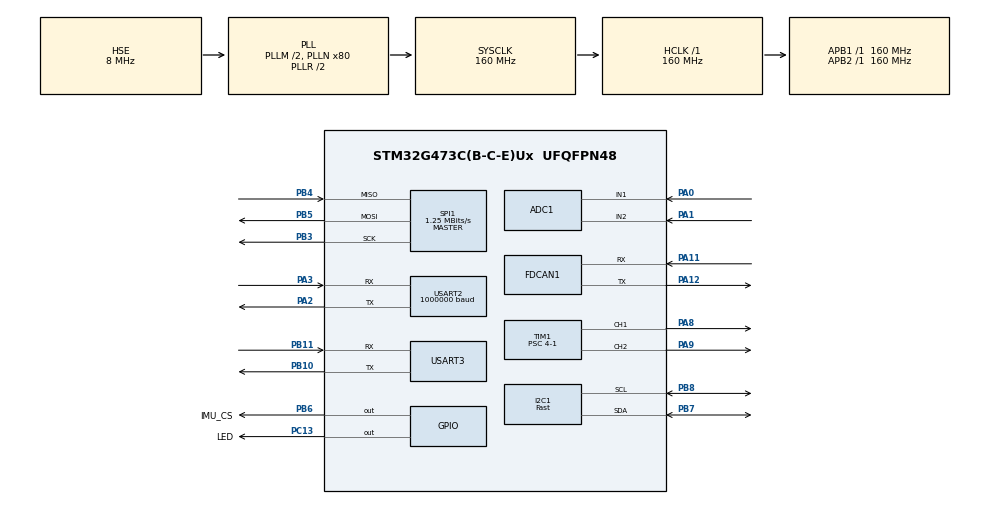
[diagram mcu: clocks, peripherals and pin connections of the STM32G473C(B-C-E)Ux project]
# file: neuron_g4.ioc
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ADC1.Channel-0\#ChannelRegularConversion=ADC_CHANNEL_1
ADC1.NbrOfConversionFlag=1
ADC1.OffsetNumber-0\#ChannelRegularConversion=ADC_OFFSET_NONE
ADC1.Rank-0\#ChannelRegularConversion=1
ADC1.SamplingTime-0\#ChannelRegularConversion=ADC_SAMPLETIME_2CYCLES_5
ADC1.master=1
Dma.Request0=USART2_RX
Dma.USART2_RX.0.Direction=DMA_PERIPH_TO_MEMORY
Dma.USART2_RX.0.EventEnable=DISABLE
Dma.USART2_RX.0.Instance=DMA1_Channel1
Dma.USART2_RX.0.MemDataAlignment=DMA_MDATAALIGN_BYTE
Dma.USART2_RX.0.MemInc=DMA_MINC_ENABLE
Dma.USART2_RX.0.Mode=DMA_CIRCULAR
Dma.USART2_RX.0.PeriphDataAlignment=DMA_PDATAALIGN_BYTE
Dma.USART2_RX.0.PeriphInc=DMA_PINC_DISABLE
Dma.USART2_RX.0.Polarity=HAL_DMAMUX_REQ_GEN_RISING
Dma.USART2_RX.0.Priority=DMA_PRIORITY_VERY_HIGH
Dma.USART2_RX.0.RequestNumber=1
Dma.USART2_RX.0.SignalID=NONE
Dma.USART2_RX.0.SyncEnable=DISABLE
Dma.USART2_RX.0.SyncPolarity=HAL_DMAMUX_SYNC_NO_EVENT
Dma.USART2_RX.0.SyncRequestNumber=1
Dma.USART2_RX.0.SyncSignalID=NONE
FDCAN1.AutoRetransmission=ENABLE
FDCAN1.DataSyncJumpWidth=2
FDCAN1.DataTimeSeg1=7
FDCAN1.DataTimeSeg2=2
FDCAN1.FrameFormat=FDCAN_FRAME_FD_BRS
FDCAN1.NominalSyncJumpWidth=16
FDCAN1.NominalTimeSeg1=63
FDCAN1.NominalTimeSeg2=16
FDCAN1.StdFiltersNbr=2
FREERTOS.BinarySemaphores01=coreTaskSem,Dynamic,NULL;canTxSem,Dynamic,NULL
FREERTOS.MEMORY_ALLOCATION=2
FREERTOS.Mutexes01=servoMutex,Dynamic,NULL
FREERTOS.Tasks01=idleTask,-3,128,idleTaskCallback,Default,NULL,Dynamic,NULL,NULL;servoTask,0,512,servoTaskCallback,Default,NULL,Dynamic,NULL,NULL;coreTask,3,256,coreTaskCallback,Default,NULL,Dynamic,NULL,NULL;canRxTask,3,256,canRxCallback,As weak,NULL,Dynamic,NULL,NULL;canTxTask,1,128,canTxCallback,Default,NULL,Dynamic,NULL,NULL
FREERTOS.Timers01=coreTimer,coreEvokeCallback,osTimerPeriodic,Default,NULL,Dynamic,NULL
FREERTOS.configTIMER_TASK_PRIORITY=6
FREERTOS.configTOTAL_HEAP_SIZE=15360
FREERTOS.configUSE_TIMERS=1
I2C1.I2C_Fall_Time=100
I2C1.I2C_Rise_Time=250
I2C1.I2C_Speed_Mode=I2C_Fast
I2C1.Timing=0x30D2153A
Mcu.Family=STM32G4
Mcu.Name=STM32G473C(B-C-E)Ux
Mcu.Package=UFQFPN48
NVIC.DMA1_Channel1_IRQn=true\:5\:0\:false\:false\:true\:true\:false\:true
NVIC.FDCAN1_IT0_IRQn=true\:5\:0\:false\:false\:true\:true\:true\:true
NVIC.PriorityGroup=NVIC_PRIORITYGROUP_4
NVIC.TIM8_UP_IRQn=true\:15\:0\:false\:false\:true\:false\:false\:true
NVIC.TimeBase=TIM8_UP_IRQn
NVIC.TimeBaseIP=TIM8
PA0.Mode=IN1-Single-Ended
PA0.Signal=ADC1_IN1
PA1.Mode=IN2-Single-Ended
PA1.Signal=ADC1_IN2
PA11.Mode=FDCAN_Activate
PA11.Signal=FDCAN1_RX
PA12.Mode=FDCAN_Activate
PA12.Signal=FDCAN1_TX
PA13.Mode=Serial_Wire
PA13.Signal=SYS_JTMS-SWDIO
PA14.Mode=Serial_Wire
PA14.Signal=SYS_JTCK-SWCLK
PA2.Mode=Asynchronous
PA2.Signal=USART2_TX
PA3.Mode=Asynchronous
PA3.Signal=USART2_RX
PA8.Signal=S_TIM1_CH1
PA9.Signal=S_TIM1_CH2
PB10.Mode=Asynchronous
PB10.Signal=USART3_TX
PB11.Mode=Asynchronous
PB11.Signal=USART3_RX
PB3.GPIO_Speed=GPIO_SPEED_FREQ_HIGH
PB3.Mode=Full_Duplex_Master
PB3.Signal=SPI1_SCK
PB4.GPIO_Speed=GPIO_SPEED_FREQ_HIGH
PB4.Mode=Full_Duplex_Master
PB4.Signal=SPI1_MISO
PB5.GPIO_Speed=GPIO_SPEED_FREQ_HIGH
PB5.Mode=Full_Duplex_Master
PB5.Signal=SPI1_MOSI
PB6.GPIO_Label=IMU_CS
PB6.GPIO_Speed=GPIO_SPEED_FREQ_HIGH
PB6.Signal=GPIO_Output
PB7.GPIO_Pu=GPIO_PULLUP
PB7.Mode=I2C
PB7.Signal=I2C1_SDA
PB8-BOOT0.GPIO_Pu=GPIO_PULLUP
PB8-BOOT0.Mode=I2C
PB8-BOOT0.Signal=I2C1_SCL
PC13.GPIO_Label=LED
PC13.Signal=GPIO_Output
PF0-OSC_IN.Mode=HSE-External-Oscillator
PF0-OSC_IN.Signal=RCC_OSC_IN
PF1-OSC_OUT.Mode=HSE-External-Oscillator
PF1-OSC_OUT.Signal=RCC_OSC_OUT
ProjectManager.HeapSize=0x200
ProjectManager.StackSize=0x400
ProjectManager.TargetToolchain=STM32CubeIDE
RCC.ADC12Freq_Value=160000000
RCC.ADC345Freq_Value=160000000
RCC.AHBFreq_Value=160000000
RCC.APB1Freq_Value=160000000
RCC.APB1TimFreq_Value=160000000
RCC.APB2Freq_Value=160000000
RCC.APB2TimFreq_Value=160000000
RCC.CortexFreq_Value=160000000
RCC.EXTERNAL_CLOCK_VALUE=12288000
RCC.FDCANCLockSelection=RCC_FDCANCLKSOURCE_PLL
RCC.HCLKFreq_Value=160000000
RCC.HSE_VALUE=8000000
RCC.HSI48_VALUE=48000000
RCC.HSI_VALUE=16000000
RCC.LSE_VALUE=32768
RCC.PLLM=RCC_PLLM_DIV2
RCC.PLLN=80
RCC.PLLQ=RCC_PLLQ_DIV4
RCC.PLLSourceVirtual=RCC_PLLSOURCE_HSE
RCC.SYSCLKFreq_VALUE=160000000
RCC.SYSCLKSource=RCC_SYSCLKSOURCE_PLLCLK
RCC.USBFreq_Value=80000000
RCC.VCOOutputFreq_Value=320000000
SH.S_TIM1_CH1.0=TIM1_CH1,PWM Generation1 CH1
SH.S_TIM1_CH2.0=TIM1_CH2,PWM Generation2 CH2
SPI1.BaudRatePrescaler=SPI_BAUDRATEPRESCALER_128
SPI1.CalculateBaudRate=1.25 MBits/s
SPI1.DataSize=SPI_DATASIZE_8BIT
SPI1.Direction=SPI_DIRECTION_2LINES
SPI1.Mode=SPI_MODE_MASTER
SPI1.VirtualType=VM_MASTER
TIM1.Channel-PWM\ Generation1\ CH1=TIM_CHANNEL_1
TIM1.Channel-PWM\ Generation2\ CH2=TIM_CHANNEL_2
TIM1.PeriodNoDither=40000-1
TIM1.Prescaler=4-1
TIM1.PulseNoDither_1=20000
TIM1.PulseNoDither_2=20000
USART2.BaudRate=1000000
USART2.VirtualMode-Asynchronous=VM_ASYNC
USART3.VirtualMode-Asynchronous=VM_ASYNC
VP_FREERTOS_VS_CMSIS_V1.Mode=CMSIS_V1
VP_SYS_VS_DBSignals.Mode=DisableDeadBatterySignals
VP_SYS_VS_tim8.Mode=TIM8
VP_TIM1_VS_ClockSourceINT.Mode=Internal
board=custom

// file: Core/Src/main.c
/* USER CODE BEGIN Header */
/**
  ******************************************************************************
  * @file           : main.c
  * @brief          : Main program body
  ******************************************************************************
  * @attention
  *
  * Copyright (c) 2023 STMicroelectronics.
  * All rights reserved.
  *
  * This software is licensed under terms that can be found in the LICENSE file
  * in the root directory of this software component.
  * If no LICENSE file comes with this software, it is provided AS-IS.
  *
  ******************************************************************************
  */
/* USER CODE END Header */
#include "main.h"
#include "cmsis_os.h"

/* USER CODE BEGIN Includes */
#include "CAN/can_device_manager.h"
#include "Flashmemory/flashmemory.h"
#include "IMU/imu_mpu9250.h"
#include "Initializer/initializer.h"
#include "Motor/motor.h"
#include "Servo/servo.h"
/* USER CODE END Includes */

ADC_HandleTypeDef hadc1;

FDCAN_HandleTypeDef hfdcan1;

I2C_HandleTypeDef hi2c1;

SPI_HandleTypeDef hspi1;

TIM_HandleTypeDef htim1;

UART_HandleTypeDef huart2;
UART_HandleTypeDef huart3;
DMA_HandleTypeDef hdma_usart2_rx;

osThreadId idleTaskHandle;
osThreadId servoTaskHandle;
osThreadId coreTaskHandle;
osThreadId canRxTaskHandle;
osThreadId canTxTaskHandle;
osTimerId coreTimerHandle;
osMutexId servoMutexHandle;
osSemaphoreId coreTaskSemHandle;
osSemaphoreId canTxSemHandle;
/* USER CODE BEGIN PV */
osMailQId canMsgMailHandle;

IMU imu_;
Motor motor_;
Servo servo_;
/* USER CODE END PV */

void SystemClock_Config(void);
static void MX_GPIO_Init(void);
static void MX_DMA_Init(void);
static void MX_ADC1_Init(void);
static void MX_FDCAN1_Init(void);
static void MX_I2C1_Init(void);
static void MX_SPI1_Init(void);
static void MX_USART2_UART_Init(void);
static void MX_USART3_UART_Init(void);
static void MX_TIM1_Init(void);
void idleTaskCallback(void const * argument);
void servoTaskCallback(void const * argument);
void coreTaskCallback(void const * argument);
void canRxCallback(void const * argument);
void canTxCallback(void const * argument);
void coreEvokeCallback(void const * argument);

int main(void)
{

  /* MCU Configuration--------------------------------------------------------*/

  /* Reset of all peripherals, Initializes the Flash interface and the Systick. */
  HAL_Init();

  /* Configure the system clock */
  SystemClock_Config();

  /* Initialize all configured peripherals */
  MX_GPIO_Init();
  MX_DMA_Init();
  MX_ADC1_Init();
  MX_FDCAN1_Init();
  MX_I2C1_Init();
  MX_SPI1_Init();
  MX_USART2_UART_Init();
  MX_USART3_UART_Init();
  MX_TIM1_Init();
  /* USER CODE BEGIN 2 */
  HAL_NVIC_DisableIRQ(DMA1_Channel1_IRQn);
  Flashmemory::init(0x0807F000, FLASH_BANK_1, 127); //last page in bank1

  // flashmemory test
#if 0
#if 0 // write
  uint8_t test[10];
  for(int i = 0; i < 10; i++) {
    test[i] = i;
  }
  Flashmemory::addValue(test, 10);

  float a = -3.1415926f;
  Flashmemory::addValue(&a, 4);

  int16_t b = 12345;
  Flashmemory::addValue(&b, 2);

  bool c = false;
  Flashmemory::addValue(&c, 1);

  Flashmemory::erase();
  Flashmemory::write();
#else // read

  uint8_t test[10];
  Flashmemory::addValue(test, 10);

  float a;
  Flashmemory::addValue(&a, 4);

  int16_t b;
  Flashmemory::addValue(&b, 2);

  bool c;
  Flashmemory::addValue(&c, 1);

  Flashmemory::read();

#endif
#endif

  uint16_t slave_id = 0;
  Flashmemory::addValue(&slave_id, 2);
  /* workaround to definitely read the value for salve_id from flashmemory, because some problem in RTOS system in init system (because of std::vector?) */
  int cnt = 10; // In fact, only need twice, 10 times is just in case.
  while(cnt > 0)
    {
      HAL_StatusTypeDef status = Flashmemory::read();
      if(status == HAL_OK) break;
      cnt --;
    }

  if (slave_id == 0 || slave_id > 14) {
    slave_id = 1;
    Flashmemory::erase();
    Flashmemory::write();
    return 0;
  }

  imu_ = IMU();
  motor_ = Motor(slave_id);
  servo_ = Servo(slave_id);
  Initializer initializer(slave_id, servo_, imu_);

  imu_.init(&hspi1);
  motor_.init(&htim1);
  HAL_Delay(300); //wait servo init
  servo_.init(&huart2, &hi2c1, &servoMutexHandle);

  CANDeviceManager::init(&hfdcan1, slave_id, GPIOC, GPIO_PIN_13);
  CANDeviceManager::addDevice(&motor_);
  CANDeviceManager::addDevice(&imu_);
  CANDeviceManager::addDevice(&servo_);
  CANDeviceManager::addDevice(&initializer);
  CANDeviceManager::useRTOS(&canMsgMailHandle);

  /* USER CODE END 2 */

  /* Create the mutex(es) */
  /* definition and creation of servoMutex */
  osMutexDef(servoMutex);
  servoMutexHandle = osMutexCreate(osMutex(servoMutex));

  /* Create the semaphores(s) */
  /* definition and creation of coreTaskSem */
  osSemaphoreDef(coreTaskSem);
  coreTaskSemHandle = osSemaphoreCreate(osSemaphore(coreTaskSem), 1);

  /* definition and creation of canTxSem */
  osSemaphoreDef(canTxSem);
  canTxSemHandle = osSemaphoreCreate(osSemaphore(canTxSem), 1);

  /* Create the timer(s) */
  /* definition and creation of coreTimer */
  osTimerDef(coreTimer, coreEvokeCallback);
  coreTimerHandle = osTimerCreate(osTimer(coreTimer), osTimerPeriodic, NULL);

  /* USER CODE BEGIN RTOS_TIMERS */
  /* start timers, add new ones, ... */
  osTimerStart(coreTimerHandle, 1); // 1 ms (1kHz)
  /* USER CODE END RTOS_TIMERS */

  /* USER CODE BEGIN RTOS_QUEUES */
  /* add queues, ... */
  /* add mail queue for CAN RX */
  osMailQDef(CanMail, 20, can_msg); // this is for the margin set for spinal: initializer sendBoardConfig (4 servo: 1 + 4 x 3 = 13 packets -> 20)
  canMsgMailHandle = osMailCreate(osMailQ(CanMail), NULL);
  /* USER CODE END RTOS_QUEUES */

  /* Create the thread(s) */
  /* definition and creation of idleTask */
  osThreadDef(idleTask, idleTaskCallback, osPriorityIdle, 0, 128);
  idleTaskHandle = osThreadCreate(osThread(idleTask), NULL);

  /* definition and creation of servoTask */
  osThreadDef(servoTask, servoTaskCallback, osPriorityNormal, 0, 512);
  servoTaskHandle = osThreadCreate(osThread(servoTask), NULL);

  /* definition and creation of coreTask */
  osThreadDef(coreTask, coreTaskCallback, osPriorityRealtime, 0, 256);
  coreTaskHandle = osThreadCreate(osThread(coreTask), NULL);

  /* definition and creation of canRxTask */
  osThreadDef(canRxTask, canRxCallback, osPriorityRealtime, 0, 256);
  canRxTaskHandle = osThreadCreate(osThread(canRxTask), NULL);

  /* definition and creation of canTxTask */
  osThreadDef(canTxTask, canTxCallback, osPriorityAboveNormal, 0, 128);
  canTxTaskHandle = osThreadCreate(osThread(canTxTask), NULL);

  /* Start scheduler */
  osKernelStart();

  /* We should never get here as control is now taken by the scheduler */
  /* Infinite loop */
  while (1)
  {

    /* USER CODE BEGIN 3 */
     HAL_Delay(1000);
     HAL_GPIO_TogglePin(LED_GPIO_Port, LED_Pin);
  }
  /* USER CODE END 3 */
}

void SystemClock_Config(void)
{
  RCC_OscInitTypeDef RCC_OscInitStruct = {0};
  RCC_ClkInitTypeDef RCC_ClkInitStruct = {0};

  /** Configure the main internal regulator output voltage
  */
  HAL_PWREx_ControlVoltageScaling(PWR_REGULATOR_VOLTAGE_SCALE1_BOOST);
  /** Initializes the RCC Oscillators according to the specified parameters
  * in the RCC_OscInitTypeDef structure.
  */
  RCC_OscInitStruct.OscillatorType = RCC_OSCILLATORTYPE_HSE;
  RCC_OscInitStruct.HSEState = RCC_HSE_ON;
  RCC_OscInitStruct.PLL.PLLState = RCC_PLL_ON;
  RCC_OscInitStruct.PLL.PLLSource = RCC_PLLSOURCE_HSE;
  RCC_OscInitStruct.PLL.PLLM = RCC_PLLM_DIV2;
  RCC_OscInitStruct.PLL.PLLN = 80;
  RCC_OscInitStruct.PLL.PLLP = RCC_PLLP_DIV2;
  RCC_OscInitStruct.PLL.PLLQ = RCC_PLLQ_DIV4;
  RCC_OscInitStruct.PLL.PLLR = RCC_PLLR_DIV2;
  if (HAL_RCC_OscConfig(&RCC_OscInitStruct) != HAL_OK)
  {
    Error_Handler();
  }
  /** Initializes the CPU, AHB and APB buses clocks
  */
  RCC_ClkInitStruct.ClockType = RCC_CLOCKTYPE_HCLK|RCC_CLOCKTYPE_SYSCLK
                              |RCC_CLOCKTYPE_PCLK1|RCC_CLOCKTYPE_PCLK2;
  RCC_ClkInitStruct.SYSCLKSource = RCC_SYSCLKSOURCE_PLLCLK;
  RCC_ClkInitStruct.AHBCLKDivider = RCC_SYSCLK_DIV1;
  RCC_ClkInitStruct.APB1CLKDivider = RCC_HCLK_DIV1;
  RCC_ClkInitStruct.APB2CLKDivider = RCC_HCLK_DIV1;

  if (HAL_RCC_ClockConfig(&RCC_ClkInitStruct, FLASH_LATENCY_4) != HAL_OK)
  {
    Error_Handler();
  }
}

static void MX_ADC1_Init(void)
{

  ADC_MultiModeTypeDef multimode = {0};
  ADC_ChannelConfTypeDef sConfig = {0};

  /** Common config
  */
  hadc1.Instance = ADC1;
  hadc1.Init.ClockPrescaler = ADC_CLOCK_SYNC_PCLK_DIV4;
  hadc1.Init.Resolution = ADC_RESOLUTION_12B;
  hadc1.Init.DataAlign = ADC_DATAALIGN_RIGHT;
  hadc1.Init.GainCompensation = 0;
  hadc1.Init.ScanConvMode = ADC_SCAN_DISABLE;
  hadc1.Init.EOCSelection = ADC_EOC_SINGLE_CONV;
  hadc1.Init.LowPowerAutoWait = DISABLE;
  hadc1.Init.ContinuousConvMode = DISABLE;
  hadc1.Init.NbrOfConversion = 1;
  hadc1.Init.DiscontinuousConvMode = DISABLE;
  hadc1.Init.ExternalTrigConv = ADC_SOFTWARE_START;
  hadc1.Init.ExternalTrigConvEdge = ADC_EXTERNALTRIGCONVEDGE_NONE;
  hadc1.Init.DMAContinuousRequests = DISABLE;
  hadc1.Init.Overrun = ADC_OVR_DATA_PRESERVED;
  hadc1.Init.OversamplingMode = DISABLE;
  if (HAL_ADC_Init(&hadc1) != HAL_OK)
  {
    Error_Handler();
  }
  /** Configure the ADC multi-mode
  */
  multimode.Mode = ADC_MODE_INDEPENDENT;
  if (HAL_ADCEx_MultiModeConfigChannel(&hadc1, &multimode) != HAL_OK)
  {
    Error_Handler();
  }
  /** Configure Regular Channel
  */
  sConfig.Channel = ADC_CHANNEL_1;
  sConfig.Rank = ADC_REGULAR_RANK_1;
  sConfig.SamplingTime = ADC_SAMPLETIME_2CYCLES_5;
  sConfig.SingleDiff = ADC_SINGLE_ENDED;
  sConfig.OffsetNumber = ADC_OFFSET_NONE;
  sConfig.Offset = 0;
  if (HAL_ADC_ConfigChannel(&hadc1, &sConfig) != HAL_OK)
  {
    Error_Handler();
  }

}

static void MX_FDCAN1_Init(void)
{

  hfdcan1.Instance = FDCAN1;
  hfdcan1.Init.ClockDivider = FDCAN_CLOCK_DIV1;
  hfdcan1.Init.FrameFormat = FDCAN_FRAME_FD_BRS;
  hfdcan1.Init.Mode = FDCAN_MODE_NORMAL;
  hfdcan1.Init.AutoRetransmission = ENABLE;
  hfdcan1.Init.TransmitPause = DISABLE;
  hfdcan1.Init.ProtocolException = DISABLE;
  hfdcan1.Init.NominalPrescaler = 1;
  hfdcan1.Init.NominalSyncJumpWidth = 16;
  hfdcan1.Init.NominalTimeSeg1 = 63;
  hfdcan1.Init.NominalTimeSeg2 = 16;
  hfdcan1.Init.DataPrescaler = 1;
  hfdcan1.Init.DataSyncJumpWidth = 2;
  hfdcan1.Init.DataTimeSeg1 = 7;
  hfdcan1.Init.DataTimeSeg2 = 2;
  hfdcan1.Init.StdFiltersNbr = 2;
  hfdcan1.Init.ExtFiltersNbr = 0;
  hfdcan1.Init.TxFifoQueueMode = FDCAN_TX_FIFO_OPERATION;
  if (HAL_FDCAN_Init(&hfdcan1) != HAL_OK)
  {
    Error_Handler();
  }

}

static void MX_I2C1_Init(void)
{

  hi2c1.Instance = I2C1;
  hi2c1.Init.Timing = 0x30D2153A;
  hi2c1.Init.OwnAddress1 = 0;
  hi2c1.Init.AddressingMode = I2C_ADDRESSINGMODE_7BIT;
  hi2c1.Init.DualAddressMode = I2C_DUALADDRESS_DISABLE;
  hi2c1.Init.OwnAddress2 = 0;
  hi2c1.Init.OwnAddress2Masks = I2C_OA2_NOMASK;
  hi2c1.Init.GeneralCallMode = I2C_GENERALCALL_DISABLE;
  hi2c1.Init.NoStretchMode = I2C_NOSTRETCH_DISABLE;
  if (HAL_I2C_Init(&hi2c1) != HAL_OK)
  {
    Error_Handler();
  }
  /** Configure Analogue filter
  */
  if (HAL_I2CEx_ConfigAnalogFilter(&hi2c1, I2C_ANALOGFILTER_ENABLE) != HAL_OK)
  {
    Error_Handler();
  }
  /** Configure Digital filter
  */
  if (HAL_I2CEx_ConfigDigitalFilter(&hi2c1, 0) != HAL_OK)
  {
    Error_Handler();
  }

}

static void MX_SPI1_Init(void)
{

  /* SPI1 parameter configuration*/
  hspi1.Instance = SPI1;
  hspi1.Init.Mode = SPI_MODE_MASTER;
  hspi1.Init.Direction = SPI_DIRECTION_2LINES;
  hspi1.Init.DataSize = SPI_DATASIZE_8BIT;
  hspi1.Init.CLKPolarity = SPI_POLARITY_LOW;
  hspi1.Init.CLKPhase = SPI_PHASE_1EDGE;
  hspi1.Init.NSS = SPI_NSS_SOFT;
  hspi1.Init.BaudRatePrescaler = SPI_BAUDRATEPRESCALER_128;
  hspi1.Init.FirstBit = SPI_FIRSTBIT_MSB;
  hspi1.Init.TIMode = SPI_TIMODE_DISABLE;
  hspi1.Init.CRCCalculation = SPI_CRCCALCULATION_DISABLE;
  hspi1.Init.CRCPolynomial = 7;
  hspi1.Init.CRCLength = SPI_CRC_LENGTH_DATASIZE;
  hspi1.Init.NSSPMode = SPI_NSS_PULSE_ENABLE;
  if (HAL_SPI_Init(&hspi1) != HAL_OK)
  {
    Error_Handler();
  }

}

static void MX_TIM1_Init(void)
{

  TIM_ClockConfigTypeDef sClockSourceConfig = {0};
  TIM_MasterConfigTypeDef sMasterConfig = {0};
  TIM_OC_InitTypeDef sConfigOC = {0};
  TIM_BreakDeadTimeConfigTypeDef sBreakDeadTimeConfig = {0};

  htim1.Instance = TIM1;
  htim1.Init.Prescaler = 4-1;
  htim1.Init.CounterMode = TIM_COUNTERMODE_UP;
  htim1.Init.Period = 39999;
  htim1.Init.ClockDivision = TIM_CLOCKDIVISION_DIV1;
  htim1.Init.RepetitionCounter = 0;
  htim1.Init.AutoReloadPreload = TIM_AUTORELOAD_PRELOAD_DISABLE;
  if (HAL_TIM_Base_Init(&htim1) != HAL_OK)
  {
    Error_Handler();
  }
  sClockSourceConfig.ClockSource = TIM_CLOCKSOURCE_INTERNAL;
  if (HAL_TIM_ConfigClockSource(&htim1, &sClockSourceConfig) != HAL_OK)
  {
    Error_Handler();
  }
  if (HAL_TIM_PWM_Init(&htim1) != HAL_OK)
  {
    Error_Handler();
  }
  sMasterConfig.MasterOutputTrigger = TIM_TRGO_RESET;
  sMasterConfig.MasterOutputTrigger2 = TIM_TRGO2_RESET;
  sMasterConfig.MasterSlaveMode = TIM_MASTERSLAVEMODE_DISABLE;
  if (HAL_TIMEx_MasterConfigSynchronization(&htim1, &sMasterConfig) != HAL_OK)
  {
    Error_Handler();
  }
  sConfigOC.OCMode = TIM_OCMODE_PWM1;
  sConfigOC.Pulse = 20000;
  sConfigOC.OCPolarity = TIM_OCPOLARITY_HIGH;
  sConfigOC.OCNPolarity = TIM_OCNPOLARITY_HIGH;
  sConfigOC.OCFastMode = TIM_OCFAST_DISABLE;
  sConfigOC.OCIdleState = TIM_OCIDLESTATE_RESET;
  sConfigOC.OCNIdleState = TIM_OCNIDLESTATE_RESET;
  if (HAL_TIM_PWM_ConfigChannel(&htim1, &sConfigOC, TIM_CHANNEL_1) != HAL_OK)
  {
    Error_Handler();
  }
  if (HAL_TIM_PWM_ConfigChannel(&htim1, &sConfigOC, TIM_CHANNEL_2) != HAL_OK)
  {
    Error_Handler();
  }
  sBreakDeadTimeConfig.OffStateRunMode = TIM_OSSR_DISABLE;
  sBreakDeadTimeConfig.OffStateIDLEMode = TIM_OSSI_DISABLE;
  sBreakDeadTimeConfig.LockLevel = TIM_LOCKLEVEL_OFF;
  sBreakDeadTimeConfig.DeadTime = 0;
  sBreakDeadTimeConfig.BreakState = TIM_BREAK_DISABLE;
  sBreakDeadTimeConfig.BreakPolarity = TIM_BREAKPOLARITY_HIGH;
  sBreakDeadTimeConfig.BreakFilter = 0;
  sBreakDeadTimeConfig.BreakAFMode = TIM_BREAK_AFMODE_INPUT;
  sBreakDeadTimeConfig.Break2State = TIM_BREAK2_DISABLE;
  sBreakDeadTimeConfig.Break2Polarity = TIM_BREAK2POLARITY_HIGH;
  sBreakDeadTimeConfig.Break2Filter = 0;
  sBreakDeadTimeConfig.Break2AFMode = TIM_BREAK_AFMODE_INPUT;
  sBreakDeadTimeConfig.AutomaticOutput = TIM_AUTOMATICOUTPUT_DISABLE;
  if (HAL_TIMEx_ConfigBreakDeadTime(&htim1, &sBreakDeadTimeConfig) != HAL_OK)
  {
    Error_Handler();
  }
  HAL_TIM_MspPostInit(&htim1);

}

static void MX_USART2_UART_Init(void)
{

  huart2.Instance = USART2;
  huart2.Init.BaudRate = 1000000;
  huart2.Init.WordLength = UART_WORDLENGTH_8B;
  huart2.Init.StopBits = UART_STOPBITS_1;
  huart2.Init.Parity = UART_PARITY_NONE;
  huart2.Init.Mode = UART_MODE_TX_RX;
  huart2.Init.HwFlowCtl = UART_HWCONTROL_NONE;
  huart2.Init.OverSampling = UART_OVERSAMPLING_16;
  huart2.Init.OneBitSampling = UART_ONE_BIT_SAMPLE_DISABLE;
  huart2.Init.ClockPrescaler = UART_PRESCALER_DIV1;
  huart2.AdvancedInit.AdvFeatureInit = UART_ADVFEATURE_NO_INIT;
  if (HAL_UART_Init(&huart2) != HAL_OK)
  {
    Error_Handler();
  }
  if (HAL_UARTEx_SetTxFifoThreshold(&huart2, UART_TXFIFO_THRESHOLD_1_8) != HAL_OK)
  {
    Error_Handler();
  }
  if (HAL_UARTEx_SetRxFifoThreshold(&huart2, UART_RXFIFO_THRESHOLD_1_8) != HAL_OK)
  {
    Error_Handler();
  }
  if (HAL_UARTEx_DisableFifoMode(&huart2) != HAL_OK)
  {
    Error_Handler();
  }

}

static void MX_USART3_UART_Init(void)
{

  huart3.Instance = USART3;
  huart3.Init.BaudRate = 115200;
  huart3.Init.WordLength = UART_WORDLENGTH_8B;
  huart3.Init.StopBits = UART_STOPBITS_1;
  huart3.Init.Parity = UART_PARITY_NONE;
  huart3.Init.Mode = UART_MODE_TX_RX;
  huart3.Init.HwFlowCtl = UART_HWCONTROL_NONE;
  huart3.Init.OverSampling = UART_OVERSAMPLING_16;
  huart3.Init.OneBitSampling = UART_ONE_BIT_SAMPLE_DISABLE;
  huart3.Init.ClockPrescaler = UART_PRESCALER_DIV1;
  huart3.AdvancedInit.AdvFeatureInit = UART_ADVFEATURE_NO_INIT;
  if (HAL_UART_Init(&huart3) != HAL_OK)
  {
    Error_Handler();
  }
  if (HAL_UARTEx_SetTxFifoThreshold(&huart3, UART_TXFIFO_THRESHOLD_1_8) != HAL_OK)
  {
    Error_Handler();
  }
  if (HAL_UARTEx_SetRxFifoThreshold(&huart3, UART_RXFIFO_THRESHOLD_1_8) != HAL_OK)
  {
    Error_Handler();
  }
  if (HAL_UARTEx_DisableFifoMode(&huart3) != HAL_OK)
  {
    Error_Handler();
  }

}

static void MX_DMA_Init(void)
{

  /* DMA controller clock enable */
  __HAL_RCC_DMAMUX1_CLK_ENABLE();
  __HAL_RCC_DMA1_CLK_ENABLE();

  /* DMA interrupt init */
  /* DMA1_Channel1_IRQn interrupt configuration */
  HAL_NVIC_SetPriority(DMA1_Channel1_IRQn, 5, 0);
  HAL_NVIC_EnableIRQ(DMA1_Channel1_IRQn);

}

static void MX_GPIO_Init(void)
{
  GPIO_InitTypeDef GPIO_InitStruct = {0};

  /* GPIO Ports Clock Enable */
  __HAL_RCC_GPIOC_CLK_ENABLE();
  __HAL_RCC_GPIOF_CLK_ENABLE();
  __HAL_RCC_GPIOA_CLK_ENABLE();
  __HAL_RCC_GPIOB_CLK_ENABLE();

  /*Configure GPIO pin Output Level */
  HAL_GPIO_WritePin(LED_GPIO_Port, LED_Pin, GPIO_PIN_RESET);

  /*Configure GPIO pin Output Level */
  HAL_GPIO_WritePin(IMU_CS_GPIO_Port, IMU_CS_Pin, GPIO_PIN_RESET);

  /*Configure GPIO pin : LED_Pin */
  GPIO_InitStruct.Pin = LED_Pin;
  GPIO_InitStruct.Mode = GPIO_MODE_OUTPUT_PP;
  GPIO_InitStruct.Pull = GPIO_NOPULL;
  GPIO_InitStruct.Speed = GPIO_SPEED_FREQ_LOW;
  HAL_GPIO_Init(LED_GPIO_Port, &GPIO_InitStruct);

  /*Configure GPIO pin : IMU_CS_Pin */
  GPIO_InitStruct.Pin = IMU_CS_Pin;
  GPIO_InitStruct.Mode = GPIO_MODE_OUTPUT_PP;
  GPIO_InitStruct.Pull = GPIO_NOPULL;
  GPIO_InitStruct.Speed = GPIO_SPEED_FREQ_HIGH;
  HAL_GPIO_Init(IMU_CS_GPIO_Port, &GPIO_InitStruct);

}

/* USER CODE BEGIN 4 */
/* USER CODE BEGIN 0 */

void CANDeviceManager::userReceiveMessagesCallback(uint8_t slave_id, uint8_t device_id, uint8_t message_id, uint32_t DLC, uint8_t* data)
{
  if (device_id == CAN::DEVICEID_SERVO && message_id == CAN::MESSAGEID_RECEIVE_SERVO_ANGLE) {
      osSemaphoreRelease(canTxSemHandle);
  }
}

/* USER CODE END 4 */

void idleTaskCallback(void const * argument)
{
  /* USER CODE BEGIN 5 */
  /* Infinite loop */
  for(;;)
  {
    // HAL_GPIO_TogglePin(LED_GPIO_Port, LED_Pin);
    osDelay(1000);
  }
  /* USER CODE END 5 */
}

void servoTaskCallback(void const * argument)
{
  /* USER CODE BEGIN servoTaskCallback */
  /* Infinite loop */
  for(;;)
  {
    servo_.update();
    osDelay(1); // 1ms sleep is OK
  }
  /* USER CODE END servoTaskCallback */
}

void coreTaskCallback(void const * argument)
{
  /* USER CODE BEGIN coreTaskCallback */
  /* Infinite loop */
  for(;;)
  {
    // RTOS semephre
    osSemaphoreWait(coreTaskSemHandle, osWaitForever);

    CANDeviceManager::tick(1);
    motor_.update();
    imu_.update();
  }
  /* USER CODE END coreTaskCallback */
}

__weak void canRxCallback(void const * argument)
{
  for(;;)
    {
      osDelay(1);
  }
}

void canTxCallback(void const * argument)
{
  /* USER CODE BEGIN canTxCallback */
  /* Infinite loop */
  for(;;)
  {
    // RTOS semephre
    osSemaphoreWait(canTxSemHandle, osWaitForever);

    servo_.sendData();
    imu_.sendData();
  }
  /* USER CODE END canTxCallback */
}

/* coreEvokeCallback function */
void coreEvokeCallback(void const * argument)
{
  /* USER CODE BEGIN coreEvokeCallback */
  /*
    We need to create another indipendent task to run the core function (following coreTask).
    since block action in timer callback function is not allowed.
  */
  osSemaphoreRelease(coreTaskSemHandle);
  /* USER CODE END coreEvokeCallback */
}

void HAL_TIM_PeriodElapsedCallback(TIM_HandleTypeDef *htim)
{
  if (htim->Instance == TIM8) {
    HAL_IncTick();
  }
}

void Error_Handler(void)
{
  __disable_irq();
  while (1)
  {
  }
}
